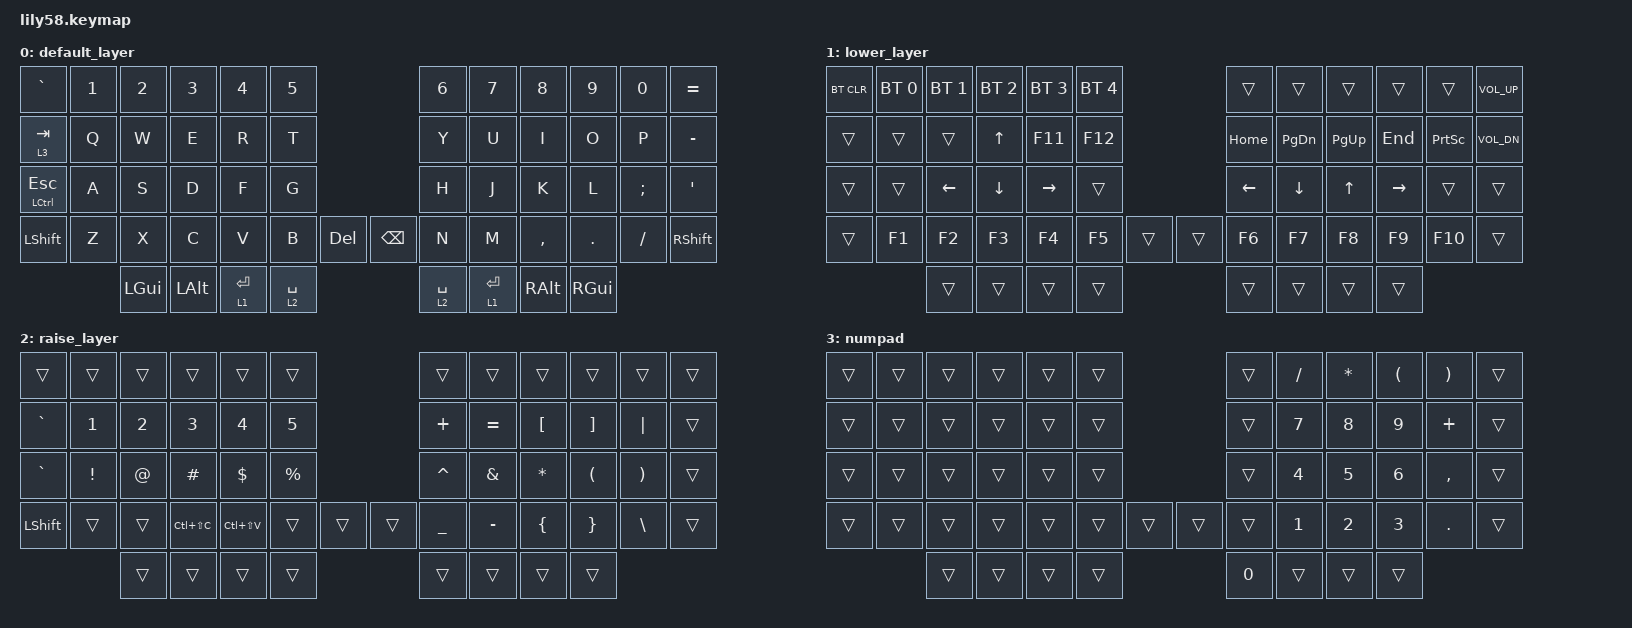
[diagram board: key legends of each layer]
/*
 * Copyright (c) 2020 The ZMK Contributors
 *
 * SPDX-License-Identifier: MIT
 */

#include <behaviors.dtsi>
#include <dt-bindings/zmk/keys.h>
#include <dt-bindings/zmk/bt.h>
#include <dt-bindings/zmk/ext_power.h>

&mt {
  hold-while-undecided;
};

&lt {
  quick-tap-ms = <200>;
};

/ {
    behaviors {
      blt: left_thumb_tap {
        compatible = "zmk,behavior-hold-tap";
        #binding-cells = <2>;
        tapping-term-ms = <200>;
        quick-tap-ms = <200>;
        flavor = "hold-preferred";
        bindings = <&mo>, <&kp>;
      };
    };

    keymap {
        compatible = "zmk,keymap";

        default_layer {
// ---------------------------------------------------------------------------------------------------------------------------
// |   `       |  1  |  2  |  3   |  4  |   5   |                            |   6   |   7    |  8  |  9   |   0   |   -   |
// | Tab/Numpd |  Q  |  W  |  E   |  R  |   T   |                            |   Y   |   U    |  I  |  O   |   P   |   =   |
// | Esc/Ctrl  |  A  |  S  |  D   |  F  |   G   |                            |   H   |   J    |  K  |  L   |   ;   |   '   |
// |  Shift    |  Z  |  X  |  C   |  V  |   B   |  DEL      |  |  Backspace  |   N   |   M    |  ,  |  .   |   /   | Shift |
//                        | Alt  | Gui  | ⏎ / ↘ | Space / ↗ |  |  Space / ↗  | ⏎ / ↘ | AltGr  | Gui  |
            bindings = <
&kp GRAVE     &kp N1 &kp N2 &kp N3   &kp N4   &kp N5                              &kp N6 &kp N7   &kp N8    &kp N9  &kp N0   &kp EQUAL
&lt 3 TAB     &kp Q  &kp W  &kp E    &kp R    &kp T                               &kp Y  &kp U    &kp I     &kp O   &kp P    &kp MINUS
&mt LCTRL ESC &kp A  &kp S  &kp D    &kp F    &kp G                               &kp H  &kp J    &kp K     &kp L   &kp SEMI &kp SQT
&kp LSHFT     &kp Z  &kp X  &kp C    &kp V    &kp B   &kp DEL        &kp BSPC     &kp N  &kp M    &kp COMMA &kp DOT &kp FSLH &kp RSHFT
                        &kp LGUI &kp LALT &lt 1 ENTER &blt 2 SPACE   &lt 2 SPACE  &lt 1 ENTER  &kp RALT &kp RGUI
            >;
        };

        lower_layer { // ↘
// -------------------------------------------------------------------------------------------------------------
// | BTCLR | BT1 | BT2 |  BT3 |  BT4 |  BT5 |                   |      |       |       |      |        | VOL + |
// |       |     |     |   ↑  |  F11 |  F12 |                   | HOME | PG_DN | PG_UP |  END | PRSCRN | VOL - |
// |       |     |  ←  |   ↓  |  →   |      |                   |   ←  |   ↓   |   ↑   |   →  |        |       |
// |       | F1  | F2  |  F3  |  F4  |  F5  |        |  |       |  F6  |  F7   |  F8   |  F9  |  F10   |       |
//                     |      |      |      |        |  |       |      |       |       |
            bindings = <
&bt BT_CLR &bt BT_SEL 0 &bt BT_SEL 1 &bt BT_SEL 2 &bt BT_SEL 3  &bt BT_SEL 4                 &trans    &trans    &trans    &trans    &trans    &kp C_VOL_UP
&trans     &trans       &trans       &kp UP       &kp F11       &kp F12                      &kp HOME  &kp PG_DN &kp PG_UP &kp END   &kp PRINTSCREEN &kp C_VOL_DN
&trans     &trans       &kp LEFT     &kp DOWN     &kp RIGHT     &trans                       &kp LEFT  &kp DOWN  &kp UP    &kp RIGHT &trans    &trans
&trans     &kp F1       &kp F2       &kp F3       &kp F4        &kp F5    &trans   &trans    &kp F6    &kp F7    &kp F8    &kp F9    &kp F10   &trans
                                    &trans        &trans        &trans    &trans   &trans    &trans    &trans    &trans
            >;
        };

        raise_layer { // ↗
// ------------------------------------------------------------------------------------------------------------
// |       |     |     |      |      |      |                   |      |       |       |      |       |       |
// |   `   |  1  |  2  |  3   |  F9  |  F10 |                   |  +   |   =   |   [   |  ]   |   |   |       |
// |   `   |  !  |  @  |  #   |  $   |  %   |                   |  ^   |   &   |   *   |  (   |   )   |       |
// |       | F11 | F12 | CCpy | CPst |      |        |  |       |  _   |   -   |   {   |  }   |   \   |       |
//                     |      |      |      |        |  |       |      | -      |       |
            bindings = <
&trans    &trans   &trans &trans        &trans        &trans                       &trans      &trans    &trans    &trans   &trans    &trans
&kp GRAVE &kp N1   &kp N2 &kp N3        &kp N4        &kp N5                       &kp PLUS    &kp EQUAL &kp LBKT  &kp RBKT &kp PIPE  &trans
&kp GRAVE &kp EXCL &kp AT &kp HASH      &kp DOLLAR    &kp PRCNT                    &kp CARET   &kp AMPS  &kp ASTRK &kp LPAR &kp RPAR  &trans
&kp LSHFT &trans   &trans &kp LC(LS(C)) &kp LC(LS(V)) &trans    &trans   &trans    &kp UNDER   &kp MINUS &kp LBRC &kp RBRC  &kp BSLH  &trans
                          &trans        &trans        &trans    &trans   &trans    &trans      &trans    &trans
            >;
        };

// ------------------------------------------------------------------------------------------------------------
// |       |     |     |      |      |      |                   |      |   /   |   *   |  (   |   )   |       |
// |       |     |     |      |      |      |                   |      |   7   |   8   |  9   |   +   |       |
// |       |     |     |      |      |      |                   |      |   4   |   5   |  4   |   ,   |       |
// |       |     |     |      |      |      |        |  |       |      |   1   |   2   |  3   |   .   |       |
//                     |      |      |      |        |  |   0   |      |       |       |
        numpad {
          bindings = <
&trans &trans &trans &trans &trans &trans                &trans &kp FSLH &kp ASTRK &kp LPAR &kp RPAR  &trans
&trans &trans &trans &trans &trans &trans                &trans &kp N7   &kp N8    &kp N9   &kp PLUS  &trans
&trans &trans &trans &trans &trans &trans                &trans &kp N4   &kp N5    &kp N6   &kp COMMA &trans
&trans &trans &trans &trans &trans &trans &trans  &trans &trans &kp N1   &kp N2    &kp N3   &kp DOT   &trans
                     &trans &trans &trans &trans  &kp N0  &trans &trans   &trans

          >;
        };
    };
};
